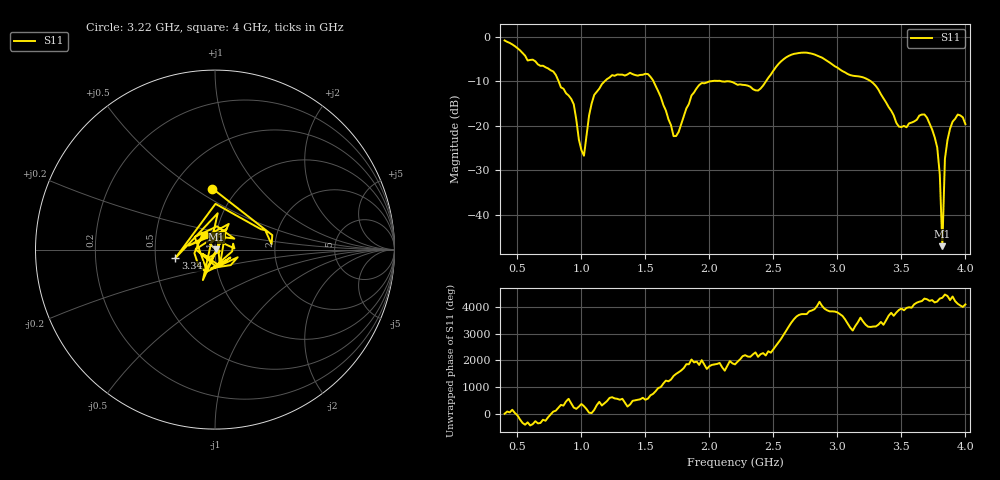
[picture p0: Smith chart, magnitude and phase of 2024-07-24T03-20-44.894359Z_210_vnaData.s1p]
!Created with skrf (http://scikit-rf.org).
# Hz S RI R 50.0
!freq ReS11 ImS11
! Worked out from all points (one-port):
!   181 points, 400 MHz to 4 GHz, reference 50 ohm
!   lowest |S11| = -47.1 dB at 3.82 GHz (marker M1), VSWR 1.01, Z = 50.4 + j0.091 ohm
!   |S11| at or under -10 dB: 821.5 MHz to 1.182 GHz (360.9 MHz wide, 36 % of centre); 1.563 GHz to 2.016 GHz (453.5 MHz wide, 25.3 % of centre); 3.261 GHz to end of sweep (the widest 3 of 4)
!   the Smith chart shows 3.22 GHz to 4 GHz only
!   S11 on the Smith chart (normalised r, x): 3.22 GHz: 0.77, +0.59; 3.34 GHz: 0.64, -0.06; 4 GHz: 0.87, +0.15
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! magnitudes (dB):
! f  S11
! 400 MHz  -0.8
! 860 MHz  -11.7
! 940 MHz  -15.2
! 980 MHz  -23.1
! 1.02 GHz  -26.8
! 1.06 GHz  -17.7
! 1.1 GHz  -13.1
! 1.3 GHz  -8.5
! 1.52 GHz  -8.4
! 1.72 GHz  -22.4
! 1.76 GHz  -21.4
! 1.92 GHz  -10.9
! 2.2 GHz  -10.5
! 2.38 GHz  -12.1
! 2.66 GHz  -3.9
! 3.1 GHz  -8.6
! 3.22 GHz  -9.4
! 3.34 GHz  -12.9
! 3.48 GHz  -20.2
! 3.56 GHz  -19.5
! 3.68 GHz  -17.5
! 3.76 GHz  -22.6
! 3.8 GHz  -31.0
! 3.82 GHz  -47.1
! 3.84 GHz  -27.5
! 3.86 GHz  -23.2
! 3.94 GHz  -17.5
! 4 GHz  -19.7
